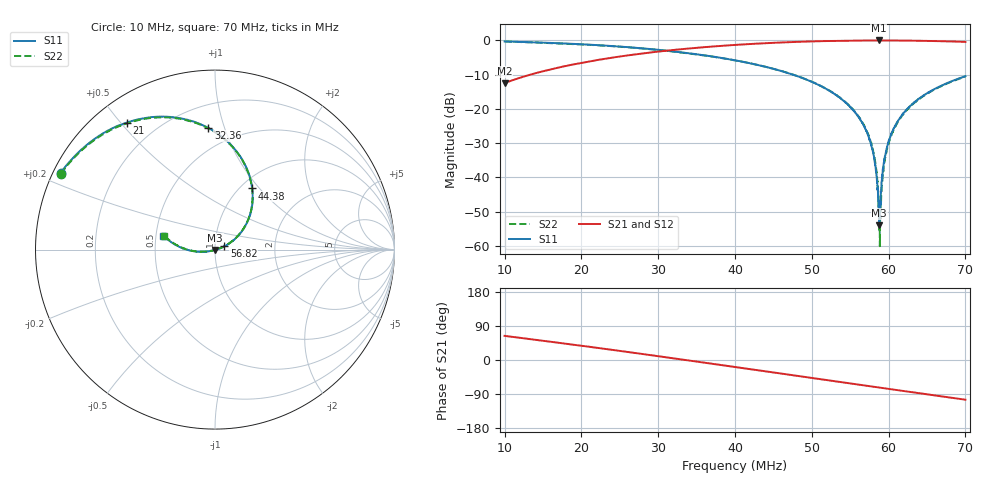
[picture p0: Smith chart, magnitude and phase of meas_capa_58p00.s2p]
#  HZ  S  RI  R  50.00
! Rohde & Schwarz ZVT8 8Ports - Version 4.11 - 1300.0000k08 SN: 100242
! Date: 2026-07-13 14:04:12
! Measurements: S11 S21 S12 S22
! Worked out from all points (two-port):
!   3001 points, 10 MHz to 70 MHz, reference 50 ohm
!   highest |S21| = -0.06 dB at 58.74 MHz (marker M1); lowest = -12.5 dB at 10 MHz (marker M2)
!   |S21| within 3 dB of the highest: 31.01 MHz to end of sweep
!   lowest |S11| = -54.0 dB at 58.78 MHz (marker M3), VSWR 1.00, Z = 50.1 - j0.186 ohm
!   |S11| at or under -10 dB: 47.51 MHz to end of sweep
!   |S22| runs from -60.1 to -0.4 dB; largest |S21 - S12| = 0.0018
!   S11 on the Smith chart (normalised r, x): 10 MHz: 0.02, +0.23; 21 MHz: 0.09, +0.52; 32.36 MHz: 0.35, +0.88; 44.38 MHz: 1.13, +0.91; 56.82 MHz: 1.11, +0.04; 70 MHz: 0.55, +0.09
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1e7  -0.8596 0.4257  0.1049 0.2122  0.1051 0.212  -0.8571 0.4228
2e7  -0.5305 0.6938  0.3709 0.2848  0.3705 0.2842  -0.529 0.6902
2.1e7  -0.4915 0.7075  0.4014 0.2807  0.4015 0.2806  -0.491 0.7031
3e7  -0.1231 0.7144  0.6718 0.119  0.6721 0.1186  -0.123 0.7107
3.236e7  -0.0376 0.6784  0.7269 0.0426  0.7266 0.0429  -0.0374 0.6752
4e7  0.1613 0.4836  0.8097 -0.2707  0.8092 -0.2708  0.1611 0.4829
4.438e7  0.207 0.3408  0.7793 -0.4697  0.7788 -0.469  0.2063 0.3417
5e7  0.1843 0.1644  0.6517 -0.7069  0.6511 -0.7064  0.1849 0.1663
5.428e7  0.1117 0.0602  0.4964 -0.8502  0.4958 -0.8494  0.1122 0.0615
5.682e7  0.052 0.018  0.3865 -0.9127  0.3862 -0.9116  0.0532 0.0194
5.748e7  0.0357 0.0108  0.3559 -0.926  0.3558 -0.9248  0.0368 0.0122
5.804e7  0.0213 0.004  0.33 -0.9357  0.33 -0.9354  0.022 0.00544
5.836e7  0.0121 0.000696  0.3151 -0.9412  0.315 -0.9403  0.0134 0.00242
5.858e7  0.00699 -9.69e-05  0.3046 -0.9446  0.3044 -0.9439  0.00776 0.00101
5.874e7  0.00229 -0.00147  0.2972 -0.9474  0.2968 -0.946  0.00321 -0.00126
5.878e7  0.000742 -0.00186  0.2948 -0.9476  0.2949 -0.9467  0.0021 -0.000702
5.9e7  -0.00476 -0.00387  0.2846 -0.9511  0.2849 -0.9499  -0.0026 -0.00305
5.942e7  -0.0166 -0.00606  0.2645 -0.9566  0.2645 -0.9556  -0.0143 -0.00584
6e7  -0.0324 -0.00911  0.2362 -0.9635  0.2365 -0.9626  -0.0297 -0.0082
6.122e7  -0.0651 -0.0127  0.1768 -0.9744  0.177 -0.9732  -0.0637 -0.012
6.318e7  -0.1203 -0.00817  0.0802 -0.9817  0.0804 -0.981  -0.1169 -0.00825
7e7  -0.2884 0.0779  -0.2415 -0.9151  -0.2407 -0.9148  -0.2842 0.0784
